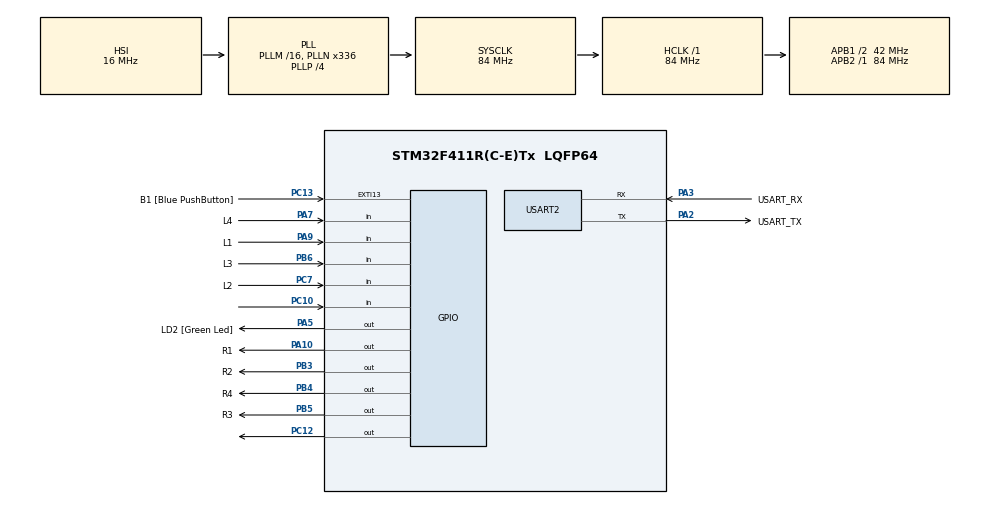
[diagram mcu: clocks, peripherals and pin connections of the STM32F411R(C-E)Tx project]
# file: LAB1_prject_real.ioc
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Mcu.Family=STM32F4
Mcu.Name=STM32F411R(C-E)Tx
Mcu.Package=LQFP64
NVIC.PriorityGroup=NVIC_PRIORITYGROUP_0
PA10.GPIO_Label=R1
PA10.GPIO_ModeDefaultOutputPP=GPIO_MODE_OUTPUT_OD
PA10.GPIO_PuPd=GPIO_NOPULL
PA10.PinState=GPIO_PIN_SET
PA10.Signal=GPIO_Output
PA13.GPIO_Label=TMS
PA13.Mode=Serial_Wire
PA13.Signal=SYS_JTMS-SWDIO
PA14.GPIO_Label=TCK
PA14.Mode=Serial_Wire
PA14.Signal=SYS_JTCK-SWCLK
PA2.GPIO_Label=USART_TX
PA2.Mode=Asynchronous
PA2.Signal=USART2_TX
PA3.GPIO_Label=USART_RX
PA3.Mode=Asynchronous
PA3.Signal=USART2_RX
PA5.GPIO_Label=LD2 [Green Led]
PA5.Signal=GPIO_Output
PA7.GPIO_Label=L4
PA7.GPIO_PuPd=GPIO_PULLUP
PA7.Signal=GPIO_Input
PA9.GPIO_Label=L1
PA9.Signal=GPIO_Input
PB3.GPIO_Label=R2
PB3.GPIO_ModeDefaultOutputPP=GPIO_MODE_OUTPUT_OD
PB3.GPIO_PuPd=GPIO_NOPULL
PB3.PinState=GPIO_PIN_SET
PB3.Signal=GPIO_Output
PB4.GPIO_Label=R4
PB4.GPIO_ModeDefaultOutputPP=GPIO_MODE_OUTPUT_OD
PB4.GPIO_PuPd=GPIO_NOPULL
PB4.PinState=GPIO_PIN_SET
PB4.Signal=GPIO_Output
PB5.GPIO_Label=R3
PB5.GPIO_ModeDefaultOutputPP=GPIO_MODE_OUTPUT_OD
PB5.GPIO_PuPd=GPIO_NOPULL
PB5.PinState=GPIO_PIN_SET
PB5.Signal=GPIO_Output
PB6.GPIO_Label=L3
PB6.GPIO_PuPd=GPIO_PULLUP
PB6.Signal=GPIO_Input
PC10.Signal=GPIO_Input
PC12.Signal=GPIO_Output
PC13-ANTI_TAMP.GPIO_Label=B1 [Blue PushButton]
PC13-ANTI_TAMP.GPIO_ModeDefaultEXTI=GPIO_MODE_IT_FALLING
PC13-ANTI_TAMP.Signal=GPXTI13
PC14-OSC32_IN.Mode=LSE-External-Oscillator
PC14-OSC32_IN.Signal=RCC_OSC32_IN
PC15-OSC32_OUT.Mode=LSE-External-Oscillator
PC15-OSC32_OUT.Signal=RCC_OSC32_OUT
PC7.GPIO_Label=L2
PC7.GPIO_PuPd=GPIO_PULLUP
PC7.Signal=GPIO_Input
PH0\ -\ OSC_IN.Mode=HSE-External-Clock-Source
PH0\ -\ OSC_IN.Signal=RCC_OSC_IN
PH1\ -\ OSC_OUT.Mode=HSE-External-Clock-Source
PH1\ -\ OSC_OUT.Signal=RCC_OSC_OUT
ProjectManager.HeapSize=0x200
ProjectManager.StackSize=0x400
ProjectManager.TargetToolchain=STM32CubeIDE
RCC.48MHZClocksFreq_Value=84000000
RCC.AHBFreq_Value=84000000
RCC.APB1CLKDivider=RCC_HCLK_DIV2
RCC.APB1Freq_Value=42000000
RCC.APB1TimFreq_Value=84000000
RCC.APB2Freq_Value=84000000
RCC.APB2TimFreq_Value=84000000
RCC.CortexFreq_Value=84000000
RCC.FLatency-AdvancedSettings=FLASH_LATENCY_2
RCC.HCLKFreq_Value=84000000
RCC.HSE_VALUE=8000000
RCC.HSI_VALUE=16000000
RCC.PLLN=336
RCC.PLLP=RCC_PLLP_DIV4
RCC.SYSCLKFreq_VALUE=84000000
RCC.SYSCLKSource=RCC_SYSCLKSOURCE_PLLCLK
RCC.VCOOutputFreq_Value=336000000
USART2.VirtualMode=VM_ASYNC
board=NUCLEO-F411RE

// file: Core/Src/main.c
/* USER CODE BEGIN Header */
/**
  ******************************************************************************
  * @file           : main.c
  * @brief          : Main program body
  ******************************************************************************
  * @attention
  *
  * Copyright (c) 2023 STMicroelectronics.
  * All rights reserved.
  *
  * This software is licensed under terms that can be found in the LICENSE file
  * in the root directory of this software component.
  * If no LICENSE file comes with this software, it is provided AS-IS.
  *
  ******************************************************************************
  */
/* USER CODE END Header */
#include "main.h"

UART_HandleTypeDef huart2;

/* USER CODE BEGIN PV */

struct PortPin
{
	GPIO_TypeDef* PORT;
	uint16_t PIN;
};
struct PortPin R[4] =
{
		{GPIOA,GPIO_PIN_10},
		{GPIOB,GPIO_PIN_3},
		{GPIOB,GPIO_PIN_5},
		{GPIOB,GPIO_PIN_4},
};
struct PortPin L[4] =
{
		{GPIOA,GPIO_PIN_9},
		{GPIOC,GPIO_PIN_7},
		{GPIOB,GPIO_PIN_6},
		{GPIOA,GPIO_PIN_7},
};

uint16_t ButtonMatrix=0;ButtonMatrix_L = 0;
int Input_st = 0, state_st = 0; //input state & Real time state
int RF_E = 0, mistake = 0;
int clear = 4096,bs = 8192,ok = 32768;

//0000000000000001 = 7 or first position '1'
//0000000000000010 = 4 or second position '2'
//0000000000000100 = 1 or '4'
//0000000000001000 = 0 or '8'

//struct GPIOState
//{
//	GPIO_PinState Current;
//	GPIO_PinState Last;
//};
//
////declare variable
//struct GPIOState Button1;

/* USER CODE END PV */

void SystemClock_Config(void);
static void MX_GPIO_Init(void);
static void MX_USART2_UART_Init(void);

int main(void)
{

  /* MCU Configuration--------------------------------------------------------*/

  /* Reset of all peripherals, Initializes the Flash interface and the Systick. */
  HAL_Init();

  /* Configure the system clock */
  SystemClock_Config();

  /* Initialize all configured peripherals */
  MX_GPIO_Init();
  MX_USART2_UART_Init();

  /* Infinite loop */
  while (1)
  {

    /* USER CODE BEGIN 3 */

	  static uint32_t timestamp = 0;
	  if(HAL_GetTick()>=timestamp)
	  {
		  timestamp = HAL_GetTick()+50;
		  ReadMatrixButton_1Row();
	  }

	  if (ButtonMatrix > ButtonMatrix_L) {
	  			RF_E = 1;
	  		} else {
	  			RF_E = 0;
	  		}
	  		ButtonMatrix_L = ButtonMatrix;

	  		switch (Input_st) {
	  		case (0)://initial
	  			state_st = 0;
	  			HAL_GPIO_WritePin(GPIOA, GPIO_PIN_5, 0);
	  			if (RF_E == 1) {
	  				if (ButtonMatrix == 512) { //6=512
	  					Input_st = 1;
	  				} else if (ButtonMatrix == clear) {
	  					Input_st = 0;
	  				} else if (ButtonMatrix == bs) {
	  					Input_st = 0;
	  				} else if (ButtonMatrix == ok) {
	  					Input_st = 0;
	  				} else if (ButtonMatrix == 0) {
	  					Input_st = 0;
	  				} else {
	  					Input_st = 12;
	  				}
	  			}
	  			break;
	  		case (1): //6
	  			state_st = 1;
	  			HAL_GPIO_WritePin(GPIOA, GPIO_PIN_5, 0);
	  			if (RF_E == 1) {
	  				if (ButtonMatrix == 2) { // 4 = 2
	  					Input_st = 2;
	  				} else if (ButtonMatrix == clear) {
	  					Input_st = 0;
	  				} else if (ButtonMatrix == bs) {
	  					Input_st = 0;
	  				} else if (ButtonMatrix == ok) {
	  					Input_st = 1;
	  				} else if (ButtonMatrix == 0) {
	  					Input_st = 1;
	  				} else {
	  					Input_st = 12;
	  				}
	  			}
	  			break;
	  		case (2)://64
	  			state_st = 2;
	  			HAL_GPIO_WritePin(GPIOA, GPIO_PIN_5, 0);
	  			if (RF_E == 1) {
	  				if (ButtonMatrix == 1024) { //3 = 1024
	  					Input_st = 3;
	  				} else if (ButtonMatrix == clear) {
	  					Input_st = 0;
	  				} else if (ButtonMatrix == bs) {
	  					Input_st = 1;
	  				} else if (ButtonMatrix == ok) {
	  					Input_st = 2;
	  				} else if (ButtonMatrix == 0) {
	  					Input_st = 2;
	  				} else {
	  					Input_st = 12;
	  				}
	  			}
	  			break;
	  		case (3)://643
	  			state_st = 3;
	  			HAL_GPIO_WritePin(GPIOA, GPIO_PIN_5, 0);
	  			if (RF_E == 1) {
	  				if (ButtonMatrix == 2) { //4 = 2
	  					Input_st = 4;
	  				} else if (ButtonMatrix == clear) {
	  					Input_st = 0;
	  				} else if (ButtonMatrix == bs) {
	  					Input_st = 2;
	  				} else if (ButtonMatrix == ok) {
	  					Input_st = 3;
	  				} else if (ButtonMatrix == 0) {
	  					Input_st = 3;
	  				} else {
	  					Input_st = 12;
	  				}
	  			}
	  			break;
	  		case (4)://6434
	  			state_st = 4;
	  			HAL_GPIO_WritePin(GPIOA, GPIO_PIN_5, 0);
	  			if (RF_E == 1) {
	  				if (ButtonMatrix == 8) { //0 = 8
	  					Input_st = 5;
	  				} else if (ButtonMatrix == clear) {
	  					Input_st = 0;
	  				} else if (ButtonMatrix == bs) {
	  					Input_st = 3;
	  				} else if (ButtonMatrix == ok) {
	  					Input_st = 4;
	  				} else if (ButtonMatrix == 0) {
	  					Input_st = 4;
	  				} else {
	  					Input_st = 12;
	  				}
	  			}
	  			break;
	  		case (5)://64340
	  			state_st = 5;
	  			HAL_GPIO_WritePin(GPIOA, GPIO_PIN_5, 0);
	  			if (RF_E == 1) {
	  				if (ButtonMatrix == 32) { //5 = 32
	  					Input_st = 6;
	  				} else if (ButtonMatrix == clear) {
	  					Input_st = 0;
	  				} else if (ButtonMatrix == bs) {
	  					Input_st = 4;
	  				} else if (ButtonMatrix == ok) {
	  					Input_st = 5;
	  				} else if (ButtonMatrix == 0) {
	  					Input_st = 5;
	  				} else {
	  					Input_st = 12;
	  				}
	  			}
	  			break;
	  		case (6)://643405
	  			state_st = 6;
	  			HAL_GPIO_WritePin(GPIOA, GPIO_PIN_5, 0);
	  			if (RF_E == 1) {
	  				if (ButtonMatrix == 8) { //0 = 8
	  					Input_st = 7;
	  				} else if (ButtonMatrix == clear) {
	  					Input_st = 0;
	  				} else if (ButtonMatrix == bs) {
	  					Input_st = 5;
	  				} else if (ButtonMatrix == ok) {
	  					Input_st = 6;
	  				} else if (ButtonMatrix == 0) {
	  					Input_st = 6;
	  				} else {
	  					Input_st = 12;
	  				}
	  			}
	  			break;
	  		case (7)://6434050
	  			state_st = 7;
	  			HAL_GPIO_WritePin(GPIOA, GPIO_PIN_5, 0);
	  			if (RF_E == 1) {
	  				if (ButtonMatrix == 8) { //0 = 8
	  					Input_st = 8;
	  				} else if (ButtonMatrix == clear) {
	  					Input_st = 0;
	  				} else if (ButtonMatrix == bs) {
	  					Input_st = 6;
	  				} else if (ButtonMatrix == ok) {
	  					Input_st = 7;
	  				} else if (ButtonMatrix == 0) {
	  					Input_st = 7;
	  				} else {
	  					Input_st = 12;
	  				}
	  			}
	  			break;
	  		case (8):
	  			state_st = 8;//64340500
	  			HAL_GPIO_WritePin(GPIOA, GPIO_PIN_5, 0);
	  			if (RF_E == 1) {
	  				if (ButtonMatrix == 0x8) { //0 = 8
	  					Input_st = 9;
	  				} else if (ButtonMatrix == clear) {
	  					Input_st = 0;
	  				} else if (ButtonMatrix == bs) {
	  					Input_st = 7;
	  				} else if (ButtonMatrix == ok) {
	  					Input_st = 8;
	  				} else if (ButtonMatrix == 0) {
	  					Input_st = 8;
	  				} else {
	  					Input_st = 12;
	  				}
	  			}
	  			break;
	  		case (9)://643405000
	  			state_st = 9;
	  			HAL_GPIO_WritePin(GPIOA, GPIO_PIN_5, 0);
	  			if (RF_E == 1) {
	  				if (ButtonMatrix == 64) {// 2 = 64
	  					Input_st = 10;
	  				} else if (ButtonMatrix == clear) {
	  					Input_st = 0;
	  				} else if (ButtonMatrix == bs) {
	  					Input_st = 8;
	  				} else if (ButtonMatrix == ok) {
	  					Input_st = 9;
	  				} else if (ButtonMatrix == 0) {
	  					Input_st = 9;
	  				} else {
	  					Input_st = 12;
	  				}
	  			}
	  			break;
	  		case (10)://6434050002
	  			state_st = 10;
	  			HAL_GPIO_WritePin(GPIOA, GPIO_PIN_5, 0);
	  			if (RF_E == 1) {
	  				if (ButtonMatrix == 8) { //0 = 8
	  					Input_st = 11;
	  				} else if (ButtonMatrix == clear) {
	  					Input_st = 0;
	  				} else if (ButtonMatrix == bs) {
	  					Input_st = 9;
	  				} else if (ButtonMatrix == ok) {
	  					Input_st = 10;
	  				} else if (ButtonMatrix == 0) {
	  					Input_st = 10;
	  				} else {
	  					Input_st = 12;
	  				}
	  			}
	  			break;
	  		case (11)://64340500020
	  			state_st = 11;
	  			if (RF_E == 1) {
	  				if (ButtonMatrix == 0x8000) { //if enter ld2 high
	  					HAL_GPIO_WritePin(GPIOA, GPIO_PIN_5, 1);
	  				} else if (ButtonMatrix == 0) {
	  					Input_st = 11;
	  				} else if (ButtonMatrix == bs) {
	  					Input_st = 10;
	  				} else if (ButtonMatrix == clear) {
	  					Input_st = 0;
	  				} else {
	  					Input_st = 0;
	  				}
	  			}
	  			break;
	  		case (12):
	  			HAL_GPIO_WritePin(GPIOA, GPIO_PIN_5, 0);
	  			if (RF_E == 1) {
	  				if (ButtonMatrix == clear) {
	  					Input_st = 0;
	  					mistake = 0;
	  				} else if (ButtonMatrix == ok) {
	  					Input_st = 12;
	  				} else if (mistake == 0 && ButtonMatrix == bs) {
	  					Input_st = state_st;
	  				} else if (ButtonMatrix == bs) {
	  					mistake -= 1;
	  					Input_st = 12;
	  				} else {
	  					mistake++;
	  					Input_st = 12;
	  				}
	  			}
	  			break;
	  		}

	  //PIN 1,5 Curse
	  //read B1 and save it to Button1
//	  GPIO_PinState Button1;
//	  Button1 = HAL_GPIO_ReadPin(GPIOC, GPIO_PIN_10);
//
//	  //send logic from buttn1 to LD2
//	  HAL_GPIO_WritePin(GPIOC, GPIO_PIN_12, Button1);

	  //Week 1 Blink LD2
//	  HAL_GPIO_WritePin(GPIOA, GPIO_PIN_5 , GPIO_PIN_SET);
//	  HAL_Delay(500);
//	  HAL_GPIO_WritePin(GPIOA, GPIO_PIN_5 , GPIO_PIN_RESET);
//	  HAL_Delay(500);

//	  //Example1 change HZ
//	  static uint32_t delayTime = 500;
//	  Button1.Current = HAL_GPIO_ReadPin(GPIOC, GPIO_PIN_13);
//	  if(Button1.Last == 1 && Button1.Current == 0)
//	  {
//		  //toggle pin
//		  if(delayTime = 500)
//		  {
//			  delayTime = 1000;
//		  }
//
//		  else
//		  {
//			  delayTime = 500;
//		  }
//	  }
//
//	  Button1.Last = Button1.Current;
//
//	  //Example1 P7 W2
//	  static uint32_t timestamp = 0;
//	  //check current time more than alarm time
//	  if(HAL_GetTick()>= timestamp)
//	  {
//		  //set next alarm
//		  timestamp = HAL_GetTick()+ delayTime;
//
//		  //toggle led
//		  HAL_GPIO_TogglePin(GPIOA, GPIO_PIN_5);
//	  }

//	  GPIO_PinState Button;
//	  Buttin = HAL_GPIO_ReadPin(GPIOC, GPIO_PIN_10);
//	  HAL_GPIO_W

  }
  /* USER CODE END 3 */
}

void SystemClock_Config(void)
{
  RCC_OscInitTypeDef RCC_OscInitStruct = {0};
  RCC_ClkInitTypeDef RCC_ClkInitStruct = {0};

  /** Configure the main internal regulator output voltage
  */
  __HAL_RCC_PWR_CLK_ENABLE();
  __HAL_PWR_VOLTAGESCALING_CONFIG(PWR_REGULATOR_VOLTAGE_SCALE1);

  /** Initializes the RCC Oscillators according to the specified parameters
  * in the RCC_OscInitTypeDef structure.
  */
  RCC_OscInitStruct.OscillatorType = RCC_OSCILLATORTYPE_HSI;
  RCC_OscInitStruct.HSIState = RCC_HSI_ON;
  RCC_OscInitStruct.HSICalibrationValue = RCC_HSICALIBRATION_DEFAULT;
  RCC_OscInitStruct.PLL.PLLState = RCC_PLL_ON;
  RCC_OscInitStruct.PLL.PLLSource = RCC_PLLSOURCE_HSI;
  RCC_OscInitStruct.PLL.PLLM = 16;
  RCC_OscInitStruct.PLL.PLLN = 336;
  RCC_OscInitStruct.PLL.PLLP = RCC_PLLP_DIV4;
  RCC_OscInitStruct.PLL.PLLQ = 4;
  if (HAL_RCC_OscConfig(&RCC_OscInitStruct) != HAL_OK)
  {
    Error_Handler();
  }

  /** Initializes the CPU, AHB and APB buses clocks
  */
  RCC_ClkInitStruct.ClockType = RCC_CLOCKTYPE_HCLK|RCC_CLOCKTYPE_SYSCLK
                              |RCC_CLOCKTYPE_PCLK1|RCC_CLOCKTYPE_PCLK2;
  RCC_ClkInitStruct.SYSCLKSource = RCC_SYSCLKSOURCE_PLLCLK;
  RCC_ClkInitStruct.AHBCLKDivider = RCC_SYSCLK_DIV1;
  RCC_ClkInitStruct.APB1CLKDivider = RCC_HCLK_DIV2;
  RCC_ClkInitStruct.APB2CLKDivider = RCC_HCLK_DIV1;

  if (HAL_RCC_ClockConfig(&RCC_ClkInitStruct, FLASH_LATENCY_2) != HAL_OK)
  {
    Error_Handler();
  }
}

static void MX_USART2_UART_Init(void)
{

  huart2.Instance = USART2;
  huart2.Init.BaudRate = 115200;
  huart2.Init.WordLength = UART_WORDLENGTH_8B;
  huart2.Init.StopBits = UART_STOPBITS_1;
  huart2.Init.Parity = UART_PARITY_NONE;
  huart2.Init.Mode = UART_MODE_TX_RX;
  huart2.Init.HwFlowCtl = UART_HWCONTROL_NONE;
  huart2.Init.OverSampling = UART_OVERSAMPLING_16;
  if (HAL_UART_Init(&huart2) != HAL_OK)
  {
    Error_Handler();
  }

}

static void MX_GPIO_Init(void)
{
  GPIO_InitTypeDef GPIO_InitStruct = {0};

  /* GPIO Ports Clock Enable */
  __HAL_RCC_GPIOC_CLK_ENABLE();
  __HAL_RCC_GPIOH_CLK_ENABLE();
  __HAL_RCC_GPIOA_CLK_ENABLE();
  __HAL_RCC_GPIOB_CLK_ENABLE();

  /*Configure GPIO pin Output Level */
  HAL_GPIO_WritePin(LD2_GPIO_Port, LD2_Pin, GPIO_PIN_RESET);

  /*Configure GPIO pin Output Level */
  HAL_GPIO_WritePin(R1_GPIO_Port, R1_Pin, GPIO_PIN_SET);

  /*Configure GPIO pin Output Level */
  HAL_GPIO_WritePin(GPIOC, GPIO_PIN_12, GPIO_PIN_RESET);

  /*Configure GPIO pin Output Level */
  HAL_GPIO_WritePin(GPIOB, R2_Pin|R4_Pin|R3_Pin, GPIO_PIN_SET);

  /*Configure GPIO pin : B1_Pin */
  GPIO_InitStruct.Pin = B1_Pin;
  GPIO_InitStruct.Mode = GPIO_MODE_IT_FALLING;
  GPIO_InitStruct.Pull = GPIO_NOPULL;
  HAL_GPIO_Init(B1_GPIO_Port, &GPIO_InitStruct);

  /*Configure GPIO pin : LD2_Pin */
  GPIO_InitStruct.Pin = LD2_Pin;
  GPIO_InitStruct.Mode = GPIO_MODE_OUTPUT_PP;
  GPIO_InitStruct.Pull = GPIO_NOPULL;
  GPIO_InitStruct.Speed = GPIO_SPEED_FREQ_LOW;
  HAL_GPIO_Init(LD2_GPIO_Port, &GPIO_InitStruct);

  /*Configure GPIO pins : L4_Pin L1_Pin */
  GPIO_InitStruct.Pin = L4_Pin|L1_Pin;
  GPIO_InitStruct.Mode = GPIO_MODE_INPUT;
  GPIO_InitStruct.Pull = GPIO_PULLUP;
  HAL_GPIO_Init(GPIOA, &GPIO_InitStruct);

  /*Configure GPIO pin : L2_Pin */
  GPIO_InitStruct.Pin = L2_Pin;
  GPIO_InitStruct.Mode = GPIO_MODE_INPUT;
  GPIO_InitStruct.Pull = GPIO_PULLUP;
  HAL_GPIO_Init(L2_GPIO_Port, &GPIO_InitStruct);

  /*Configure GPIO pin : R1_Pin */
  GPIO_InitStruct.Pin = R1_Pin;
  GPIO_InitStruct.Mode = GPIO_MODE_OUTPUT_OD;
  GPIO_InitStruct.Pull = GPIO_NOPULL;
  GPIO_InitStruct.Speed = GPIO_SPEED_FREQ_LOW;
  HAL_GPIO_Init(R1_GPIO_Port, &GPIO_InitStruct);

  /*Configure GPIO pin : PC10 */
  GPIO_InitStruct.Pin = GPIO_PIN_10;
  GPIO_InitStruct.Mode = GPIO_MODE_INPUT;
  GPIO_InitStruct.Pull = GPIO_NOPULL;
  HAL_GPIO_Init(GPIOC, &GPIO_InitStruct);

  /*Configure GPIO pin : PC12 */
  GPIO_InitStruct.Pin = GPIO_PIN_12;
  GPIO_InitStruct.Mode = GPIO_MODE_OUTPUT_PP;
  GPIO_InitStruct.Pull = GPIO_NOPULL;
  GPIO_InitStruct.Speed = GPIO_SPEED_FREQ_LOW;
  HAL_GPIO_Init(GPIOC, &GPIO_InitStruct);

  /*Configure GPIO pins : R2_Pin R4_Pin R3_Pin */
  GPIO_InitStruct.Pin = R2_Pin|R4_Pin|R3_Pin;
  GPIO_InitStruct.Mode = GPIO_MODE_OUTPUT_OD;
  GPIO_InitStruct.Pull = GPIO_NOPULL;
  GPIO_InitStruct.Speed = GPIO_SPEED_FREQ_LOW;
  HAL_GPIO_Init(GPIOB, &GPIO_InitStruct);

  /*Configure GPIO pin : L3_Pin */
  GPIO_InitStruct.Pin = L3_Pin;
  GPIO_InitStruct.Mode = GPIO_MODE_INPUT;
  GPIO_InitStruct.Pull = GPIO_PULLUP;
  HAL_GPIO_Init(L3_GPIO_Port, &GPIO_InitStruct);

}

/* USER CODE BEGIN 4 */
void ReadMatrixButton_1Row()
{
	static uint8_t x = 0;
	register int i;
	for(i=0;i<4;i++)
	{
		if(HAL_GPIO_ReadPin(L[i].PORT, L[i].PIN) == 1)
		{
			ButtonMatrix &= ~(1<<x*4+i);
		}
		else
		{
			ButtonMatrix |= 1<<(x*4+i);
		}
	}
	//Set RX
	HAL_GPIO_WritePin(R[x].PORT, R[x].PIN, 1);
	//Reset RX+1%4
	HAL_GPIO_WritePin(R[(x+1)%4].PORT, R[(x+1)%4].PIN, 0);
	x++;
	x%=4;
}
/* USER CODE END 4 */

void Error_Handler(void)
{
  __disable_irq();
  while (1)
  {
  }
}
